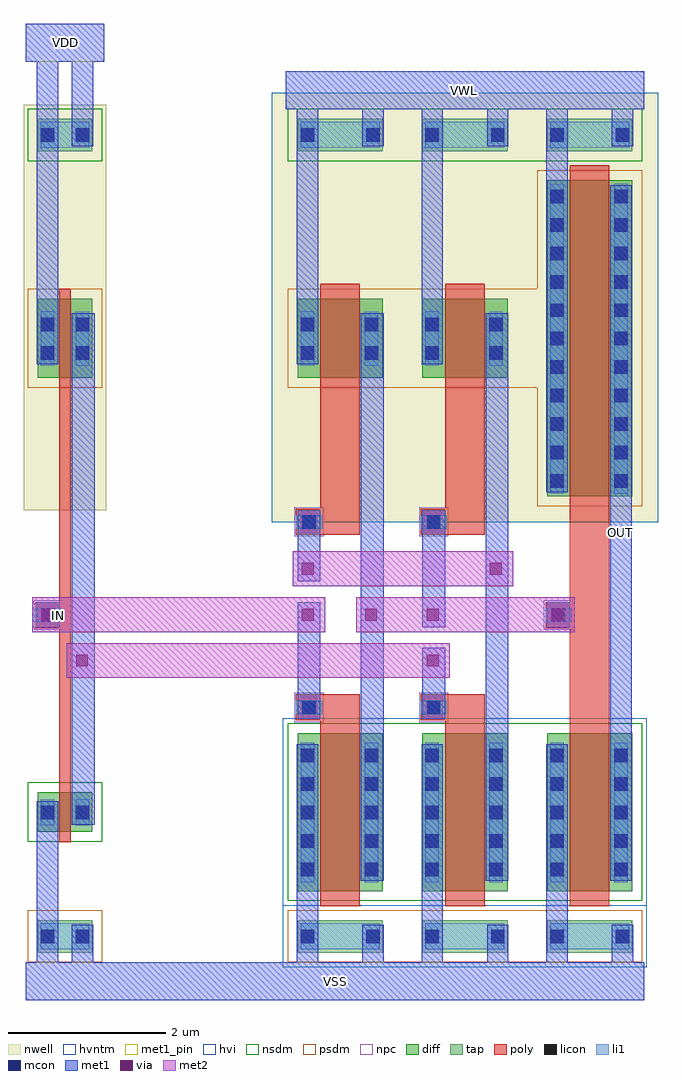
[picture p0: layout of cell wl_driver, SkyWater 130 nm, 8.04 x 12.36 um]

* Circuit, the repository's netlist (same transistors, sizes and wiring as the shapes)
.subckt wl_driver IN OUT VDD VWL VSS
XMP0 INB IN VDD VDD sky130_fd_pr__pfet_01v8 L=0.15 W=1 nf=1
XMN0 INB IN VSS VSS sky130_fd_pr__nfet_01v8 L=0.15 W=0.5 nf=1
XMP1 Q QB VWL VWL sky130_fd_pr__pfet_g5v0d10v5 L=0.5 W=1 nf=1
XMN1 Q IN VSS VSS sky130_fd_pr__nfet_g5v0d10v5 L=0.5 W=2 nf=1
XMP2 QB Q VWL VWL sky130_fd_pr__pfet_g5v0d10v5 L=0.5 W=1 nf=1
XMN2 QB INB VSS VSS sky130_fd_pr__nfet_g5v0d10v5 L=0.5 W=2 nf=1
XMP3 OUT Q VWL VWL sky130_fd_pr__pfet_g5v0d10v5 L=0.5 W=4 nf=1
XMN3 OUT Q VSS VSS sky130_fd_pr__nfet_g5v0d10v5 L=0.5 W=2 nf=1
.ends

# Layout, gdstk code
import gdstk
lib = gdstk.Library(unit=1e-6, precision=1e-09)
def R(c, l, rs):  # rectangles x0, y0, x1, y1
    for r in rs: c.add(gdstk.rectangle(r[:2], r[2:], *l))
def A(c, l, x, y, w, h, nx, ny, dx, dy):  # array of equal rectangles
    R(c, l, [(x+i*dx, y+j*dy, x+i*dx+w, y+j*dy+h) for i in range(nx) for j in range(ny)])
nwell = (64, 20)
diff = (65, 20)
tap = (65, 44)
poly = (66, 20)
licon = (66, 44)
li1 = (67, 20)
mcon = (67, 44)
met1_pin = (68, 16)
met1 = (68, 20)
via = (68, 44)
met2 = (69, 20)
hvi = (75, 20)
nsdm = (93, 44)
psdm = (94, 20)
npc = (95, 20)
hvntm = (125, 20)

wl_driver = lib.new_cell('wl_driver')
R(wl_driver, nwell, [(3.11,6.05,8.01,11.49), (-0.03,6.2,1.02,11.34)])
A(wl_driver, diff, 3.44, 1.38, 1.08, 2, 3, 1, 1.58, 0)
R(wl_driver, diff, [(0.15,2.13,0.84,2.63), (6.6,6.38,7.68,10.38), (0.15,7.88,0.84,8.88), (3.44,7.88,4.52,8.88), (5.02,7.88,6.1,8.88)])
A(wl_driver, tap, 3.44, 0.6, 1.08, 0.41, 3, 2, 1.58, 10.15)
R(wl_driver, tap, [(0.15,0.6,0.84,1.01), (0.15,10.75,0.84,11.16)])
R(wl_driver, poly, [(3.73,1.19,4.23,3.54), (5.31,1.19,5.81,3.54), (6.89,1.19,7.39,4.71), (0.42,2,0.57,4.71), (3.42,3.54,4.23,3.87), (5,3.54,5.81,3.87), (0.12,4.71,0.57,5.04), (6.58,4.71,7.39,5.04), (0.42,5.04,0.57,9.01), (6.89,5.04,7.39,10.57), (3.42,5.89,4.23,6.22), (5,5.89,5.81,6.22), (3.73,6.22,4.23,9.07), (5.31,6.22,5.81,9.07)])
A(wl_driver, licon, 3.48, 1.57, 0.17, 0.17, 1, 5, 0, 0.36)
A(wl_driver, licon, 4.29, 1.57, 0.17, 0.17, 1, 5, 0, 0.36)
A(wl_driver, licon, 5.06, 1.57, 0.17, 0.17, 1, 5, 0, 0.36)
A(wl_driver, licon, 5.87, 1.57, 0.17, 0.17, 1, 5, 0, 0.36)
A(wl_driver, licon, 6.64, 1.57, 0.17, 0.17, 1, 5, 0, 0.36)
A(wl_driver, licon, 7.45, 1.57, 0.17, 0.17, 1, 5, 0, 0.36)
A(wl_driver, licon, 6.64, 6.49, 0.17, 0.17, 1, 11, 0, 0.36)
A(wl_driver, licon, 7.45, 6.49, 0.17, 0.17, 1, 11, 0, 0.36)
R(wl_driver, licon, [(0.19,0.72,0.36,0.89), (0.63,0.72,0.8,0.89), (3.48,0.72,3.65,0.89), (4.31,0.72,4.48,0.89), (5.06,0.72,5.23,0.89), (5.89,0.72,6.06,0.89), (6.64,0.72,6.81,0.89), (7.47,0.72,7.64,0.89), (0.19,2.29,0.36,2.46), (0.63,2.29,0.8,2.46), (3.5,3.62,3.67,3.79), (5.08,3.62,5.25,3.79), (0.2,4.79,0.37,4.96), (6.66,4.79,6.83,4.96), (3.5,5.97,3.67,6.14), (5.08,5.97,5.25,6.14), (0.19,8.11,0.36,8.28), (0.63,8.11,0.8,8.28), (3.48,8.11,3.65,8.28), (4.29,8.11,4.46,8.28), (5.06,8.11,5.23,8.28), (5.87,8.11,6.04,8.28), (0.19,8.47,0.36,8.64), (0.63,8.47,0.8,8.64), (3.48,8.47,3.65,8.64), (4.29,8.47,4.46,8.64), (5.06,8.47,5.23,8.64), (5.87,8.47,6.04,8.64), (0.19,10.87,0.36,11.04), (0.63,10.87,0.8,11.04), (3.48,10.87,3.65,11.04), (4.31,10.87,4.48,11.04), (5.06,10.87,5.23,11.04), (5.89,10.87,6.06,11.04), (6.64,10.87,6.81,11.04), (7.47,10.87,7.64,11.04)])
A(wl_driver, li1, 3.48, 0.64, 1, 0.33, 3, 2, 1.58, 10.15)
R(wl_driver, li1, [(0.19,0.64,0.8,0.97), (3.48,1.49,3.65,3.26), (4.29,1.49,4.46,3.26), (5.06,1.49,5.23,3.26), (5.87,1.49,6.04,3.26), (6.64,1.49,6.81,3.26), (7.45,1.49,7.62,3.26), (0.19,2.21,0.36,2.54), (0.63,2.21,0.8,2.54), (3.42,3.62,3.75,3.79), (5,3.62,5.33,3.79), (0.12,4.79,0.45,4.96), (6.58,4.79,6.91,4.96), (3.42,5.97,3.75,6.14), (5,5.97,5.33,6.14), (6.64,6.41,6.81,10.34), (7.45,6.41,7.62,10.34), (0.19,8.03,0.36,8.72), (0.63,8.03,0.8,8.72), (3.48,8.03,3.65,8.72), (4.29,8.03,4.46,8.72), (5.06,8.03,5.23,8.72), (5.87,8.03,6.04,8.72), (0.19,10.79,0.8,11.12)])
A(wl_driver, mcon, 3.48, 1.57, 0.17, 0.17, 1, 5, 0, 0.36)
A(wl_driver, mcon, 4.29, 1.57, 0.17, 0.17, 1, 5, 0, 0.36)
A(wl_driver, mcon, 5.06, 1.57, 0.17, 0.17, 1, 5, 0, 0.36)
A(wl_driver, mcon, 5.87, 1.57, 0.17, 0.17, 1, 5, 0, 0.36)
A(wl_driver, mcon, 6.64, 1.57, 0.17, 0.17, 1, 5, 0, 0.36)
A(wl_driver, mcon, 7.45, 1.57, 0.17, 0.17, 1, 5, 0, 0.36)
A(wl_driver, mcon, 6.64, 6.49, 0.17, 0.17, 1, 11, 0, 0.36)
A(wl_driver, mcon, 7.45, 6.49, 0.17, 0.17, 1, 11, 0, 0.36)
R(wl_driver, mcon, [(0.19,0.72,0.36,0.89), (0.63,0.72,0.8,0.89), (3.48,0.72,3.65,0.89), (4.31,0.72,4.48,0.89), (5.06,0.72,5.23,0.89), (5.89,0.72,6.06,0.89), (6.64,0.72,6.81,0.89), (7.47,0.72,7.64,0.89), (0.19,2.29,0.36,2.46), (0.63,2.29,0.8,2.46), (3.5,3.62,3.67,3.79), (5.08,3.62,5.25,3.79), (0.2,4.79,0.37,4.96), (6.66,4.79,6.83,4.96), (3.5,5.97,3.67,6.14), (5.08,5.97,5.25,6.14), (0.19,8.11,0.36,8.28), (0.63,8.11,0.8,8.28), (3.48,8.11,3.65,8.28), (4.29,8.11,4.46,8.28), (5.06,8.11,5.23,8.28), (5.87,8.11,6.04,8.28), (0.19,8.47,0.36,8.64), (0.63,8.47,0.8,8.64), (3.48,8.47,3.65,8.64), (4.29,8.47,4.46,8.64), (5.06,8.47,5.23,8.64), (5.87,8.47,6.04,8.64), (0.19,10.87,0.36,11.04), (0.63,10.87,0.8,11.04), (3.48,10.87,3.65,11.04), (4.31,10.87,4.48,11.04), (5.06,10.87,5.23,11.04), (5.89,10.87,6.06,11.04), (6.64,10.87,6.81,11.04), (7.47,10.87,7.64,11.04)])
R(wl_driver, met1_pin, [(0,0,7.83,0.48), (7.4,1.51,7.67,10.32), (0.4,4.73,0.43,5.02), (3.29,11.28,7.83,11.76), (0,11.88,0.99,12.36)])
A(wl_driver, met1, 3.43, 0.48, 0.27, 2.76, 3, 1, 1.58, 0)
A(wl_driver, met1, 4.26, 0.48, 0.27, 0.47, 3, 2, 1.58, 10.33)
R(wl_driver, met1, [(0,0,7.83,0.48), (0.14,0.48,0.41,2.52), (0.58,0.48,0.85,0.95), (4.24,1.51,4.53,8.7), (5.82,1.51,6.11,8.7), (7.4,1.51,7.67,10.32), (0.58,2.22,0.87,8.7), (3.44,3.56,3.73,5.04), (5.02,3.56,5.31,4.46), (0.14,4.72,0.43,5.04), (5.02,4.72,5.31,6.2), (6.6,4.72,6.89,5.04), (3.44,5.3,3.73,6.2), (6.59,6.43,6.86,11.28), (0.14,8.05,0.41,11.88), (3.43,8.05,3.7,11.28), (5.01,8.05,5.28,11.28), (0.58,10.81,0.85,11.88), (3.29,11.28,7.83,11.76), (0,11.88,0.99,12.36)])
R(wl_driver, via, [(0.635,4.225,0.785,4.375), (5.075,4.225,5.225,4.375), (0.195,4.805,0.345,4.955), (3.495,4.805,3.645,4.955), (4.295,4.805,4.445,4.955), (5.075,4.805,5.225,4.955), (6.655,4.805,6.805,4.955), (3.495,5.385,3.645,5.535), (5.875,5.385,6.025,5.535)])
R(wl_driver, met2, [(0.52,4.08,5.37,4.52), (0.08,4.66,3.79,5.1), (4.18,4.66,6.95,5.1), (3.38,5.24,6.17,5.68)])
R(wl_driver, hvi, [(3.255,0.415,7.865,3.565), (3.11,6.05,8.01,11.49)])
R(wl_driver, nsdm, [(3.315,1.255,7.805,3.505), (0.025,2.005,0.965,2.755), (0.025,10.625,0.965,11.285), (3.315,10.625,7.805,11.285)])
R(wl_driver, psdm, [(0.025,0.475,0.965,1.135), (3.315,0.475,7.805,1.135), (6.475,6.255,7.805,7.755), (0.025,7.755,0.965,9.005), (3.315,7.755,7.805,9.005), (6.475,9.005,7.805,10.505)])
R(wl_driver, npc, [(3.4,3.52,3.77,3.89), (4.98,3.52,5.35,3.89), (0.1,4.69,0.47,5.06), (6.56,4.69,6.93,5.06), (3.4,5.87,3.77,6.24), (4.98,5.87,5.35,6.24)])
R(wl_driver, hvntm, [(3.255,1.195,7.865,3.565)])
wl_driver.add(gdstk.Label('IN', (0.415,4.875), layer=68, texttype=5))
wl_driver.add(gdstk.Label('OUT', (7.535,5.915), layer=68, texttype=5))
wl_driver.add(gdstk.Label('VDD', (0.495,12.12), layer=68, texttype=5))
wl_driver.add(gdstk.Label('VWL', (5.56,11.52), layer=68, texttype=5))
wl_driver.add(gdstk.Label('VSS', (3.915,0.24), layer=68, texttype=5))

lib.write_gds('wl_driver.gds')
